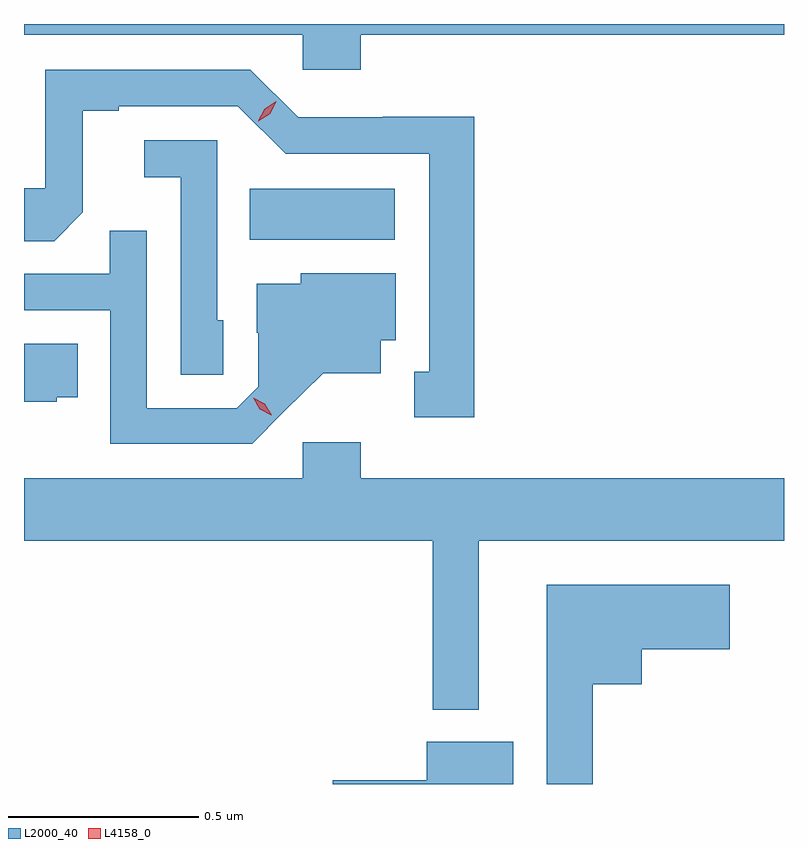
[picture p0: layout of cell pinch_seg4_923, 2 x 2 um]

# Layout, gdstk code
import gdstk
lib = gdstk.Library(unit=1e-6, precision=1e-09)
def R(c, l, rs):  # rectangles x0, y0, x1, y1
    for r in rs: c.add(gdstk.rectangle(r[:2], r[2:], *l))
def P(c, l, *ps):  # polygons
    for p in ps: c.add(gdstk.Polygon(p, *l))
L2000_40 = (2000, 40)
L4158_0 = (4158, 0)

pinch_seg4_923 = lib.new_cell('pinch_seg4_923')
R(pinch_seg4_923, L2000_40, [(749.2,821.588,749.581,821.722)])
P(pinch_seg4_923, L2000_40, [(749.492,822.128),(750.606,822.128),(750.606,822.156),(748.606,822.156),(748.606,822.128),(749.34,822.128),(749.34,822.035),(749.492,822.035)],
  [(749.791,821.912),(749.55,821.912),(749.55,821.91),(749.328,821.91),(749.202,822.036),(748.662,822.036),(748.662,821.724),(748.606,821.724),(748.606,821.584),(748.685,821.584),(748.761,821.66),(748.761,821.928),(748.855,821.928),(748.855,821.94),(749.169,821.94),(749.295,821.814),(749.672,821.814),(749.672,821.241),(749.633,821.241),(749.633,821.121),(749.791,821.121)],
  [(749.13,821.376),(749.115,821.376),(749.115,821.85),(748.923,821.85),(748.923,821.753),(749.019,821.753),(749.019,821.233),(749.13,821.233)],
  [(749.29,821.135),(749.393,821.237),(749.545,821.237),(749.545,821.324),(749.584,821.324),(749.584,821.5),(749.334,821.5),(749.334,821.473),(749.219,821.473),(749.219,821.344),(749.223,821.344),(749.223,821.202),(749.166,821.145),(748.929,821.145),(748.929,821.612),(748.831,821.612),(748.831,821.499),(748.606,821.499),(748.606,821.403),(748.833,821.403),(748.833,821.052),(749.206,821.052)],
  [(748.692,821.174),(748.748,821.174),(748.748,821.314),(748.606,821.314),(748.606,821.162),(748.692,821.162)],
  [(749.803,820.796),(750.606,820.796),(750.606,820.96),(749.492,820.96),(749.492,821.056),(749.34,821.056),(749.34,820.96),(748.606,820.96),(748.606,820.796),(749.682,820.796),(749.682,820.352),(749.803,820.352)],
  [(750.103,820.418),(750.232,820.418),(750.232,820.511),(750.463,820.511),(750.463,820.681),(749.981,820.681),(749.981,820.156),(750.103,820.156)],
  [(749.893,820.267),(749.666,820.267),(749.666,820.166),(749.418,820.166),(749.418,820.156),(749.893,820.156)])
P(pinch_seg4_923, L4158_0, [(749.222,821.9),(749.222,821.901),(749.239,821.933),(749.27,821.953),(749.27,821.953),(749.27,821.952),(749.254,821.92),(749.222,821.9)],
  [(749.257,821.127),(749.226,821.142),(749.209,821.172),(749.209,821.172),(749.209,821.172),(749.24,821.157),(749.258,821.127),(749.258,821.127)])

lib.write_gds('pinch_seg4_923.gds')
